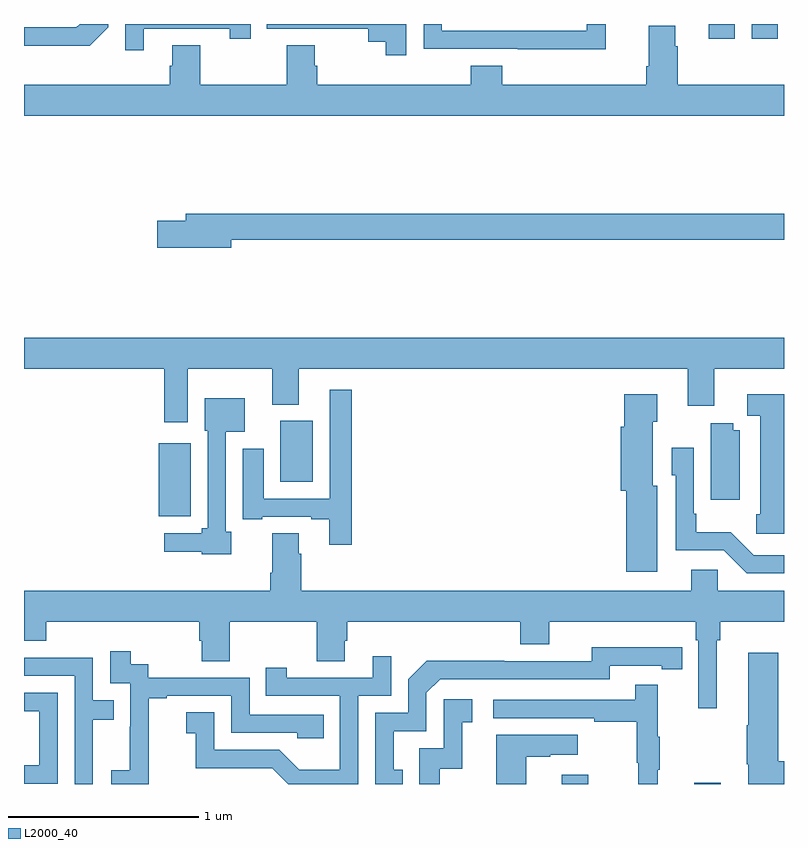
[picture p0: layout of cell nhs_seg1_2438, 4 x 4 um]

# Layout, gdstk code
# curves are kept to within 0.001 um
import gdstk
lib = gdstk.Library(unit=1e-6, precision=1e-09)
def R(c, l, rs):  # rectangles x0, y0, x1, y1
    for r in rs: c.add(gdstk.rectangle(r[:2], r[2:], *l))
def P(c, l, *ps):  # polygons
    for p in ps: c.add(gdstk.Polygon(p, *l))
L2000_40 = (2000, 40)

nhs_seg1_2438 = lib.new_cell('nhs_seg1_2438')
R(nhs_seg1_2438, L2000_40, [(245.831,564.199,245.971,564.247), (246.527,564.199,246.667,564.205), (243.71,565.607,243.877,565.993), (244.349,565.79,244.519,566.11), (246.605,568.122,246.741,568.199), (246.831,568.122,246.967,568.199)])
P(nhs_seg1_2438, L2000_40, [(243.631,568.173),(244.082,568.173),(244.082,568.122),(244.193,568.122),(244.193,568.199),(243.534,568.199),(243.534,568.062),(243.631,568.062)],
  [(246.063,568.199),(245.963,568.199),(245.963,568.164),(245.199,568.164),(245.199,568.199),(245.103,568.199),(245.103,568.068),(245.599,568.068),(245.599,568.067),(246.063,568.067)],
  [(243.444,568.182),(243.444,568.199),(243.293,568.199),(243.276,568.182),(243,568.182),(243,568.085),(243.346,568.085)],
  [(245.013,568.199),(244.278,568.199),(244.278,568.173),(244.812,568.173),(244.812,568.105),(244.905,568.105),(244.905,568.035),(245.013,568.035)],
  [(247,567.88),(246.44,567.88),(246.44,568.082),(246.427,568.082),(246.427,568.189),(246.287,568.189),(246.287,567.976),(246.275,567.976),(246.275,567.88),(245.516,567.88),(245.516,567.979),(245.351,567.979),(245.351,567.88),(244.544,567.88),(244.544,567.978),(244.531,567.978),(244.531,568.088),(244.384,568.088),(244.384,567.88),(243.927,567.88),(243.927,568.088),(243.779,568.088),(243.779,567.978),(243.767,567.978),(243.767,567.88),(243,567.88),(243,567.716),(247,567.716)],
  [(244.09,567.064),(247,567.064),(247,567.2),(243.851,567.2),(243.851,567.164),(243.702,567.164),(243.702,567.022),(244.09,567.022)],
  [(243.862,566.384),(244.307,566.384),(244.307,566.195),(244.447,566.195),(244.447,566.384),(246.494,566.384),(246.494,566.19),(246.634,566.19),(246.634,566.384),(247,566.384),(247,566.548),(243,566.548),(243,566.384),(243.737,566.384),(243.737,566.103),(243.862,566.103)],
  [(244.724,566.275),(244.608,566.275),(244.608,565.701),(244.261,565.701),(244.261,565.963),(244.151,565.963),(244.151,565.593),(244.255,565.593),(244.255,565.605),(244.511,565.605),(244.511,565.593),(244.607,565.593),(244.607,565.458),(244.724,565.458)],
  [(247,566.251),(246.807,566.251),(246.807,566.136),(246.875,566.136),(246.875,565.62),(246.853,565.62),(246.853,565.515),(247,565.515)],
  [(246.334,565.77),(246.31,565.77),(246.31,566.106),(246.334,566.106),(246.334,566.251),(246.158,566.251),(246.158,566.079),(246.14,566.079),(246.14,565.743),(246.17,565.743),(246.17,565.317),(246.334,565.317)],
  [(244.09,565.527),(244.062,565.527),(244.062,566.054),(244.162,566.054),(244.162,566.23),(243.95,566.23),(243.95,566.058),(243.966,566.058),(243.966,565.546),(243.936,565.546),(243.936,565.518),(243.738,565.518),(243.738,565.421),(243.936,565.421),(243.936,565.409),(244.09,565.409)],
  [(246.766,566.062),(246.734,566.062),(246.734,566.099),(246.614,566.099),(246.614,565.695),(246.766,565.695)],
  [(247,565.404),(246.84,565.404),(246.719,565.525),(246.538,565.525),(246.538,565.621),(246.525,565.621),(246.525,565.969),(246.408,565.969),(246.408,565.824),(246.429,565.824),(246.429,565.428),(246.684,565.428),(246.804,565.308),(247,565.308)],
  [(246.646,564.956),(246.665,564.956),(246.665,565.052),(247,565.052),(247,565.216),(246.651,565.216),(246.651,565.326),(246.512,565.326),(246.512,565.216),(244.46,565.216),(244.46,565.412),(244.447,565.412),(244.447,565.52),(244.307,565.52),(244.307,565.312),(244.295,565.312),(244.295,565.216),(243,565.216),(243,564.953),(243.116,564.953),(243.116,565.052),(243.923,565.052),(243.923,564.954),(243.935,564.954),(243.935,564.844),(244.083,564.844),(244.083,565.052),(244.54,565.052),(244.54,564.844),(244.687,564.844),(244.687,564.954),(244.7,564.954),(244.7,565.052),(245.612,565.052),(245.612,564.935),(245.764,564.935),(245.764,565.052),(246.536,565.052),(246.536,564.956),(246.549,564.956),(246.549,564.597),(246.646,564.597)],
  [(244.994,564.273),(244.945,564.273),(244.945,564.477),(245.118,564.477),(245.118,564.678),(245.19,564.75),(246.084,564.75),(246.084,564.822),(246.356,564.822),(246.356,564.802),(246.464,564.802),(246.464,564.918),(245.988,564.919),(245.988,564.846),(245.528,564.846),(245.528,564.848),(245.12,564.848),(245.022,564.75),(245.022,564.573),(244.848,564.573),(244.848,564.199),(244.994,564.199)],
  [(243.657,564.367),(243.656,564.367),(243.656,564.651),(243.751,564.651),(243.751,564.663),(244.092,564.663),(244.092,564.468),(244.437,564.468),(244.437,564.441),(244.577,564.441),(244.577,564.564),(244.188,564.564),(244.188,564.759),(243.654,564.759),(243.654,564.828),(243.562,564.828),(243.562,564.898),(243.453,564.898),(243.453,564.729),(243.558,564.729),(243.558,564.5),(243.557,564.5),(243.557,564.271),(243.459,564.271),(243.459,564.199),(243.657,564.199)],
  [(247,564.32),(246.971,564.32),(246.971,564.889),(246.812,564.889),(246.812,564.509),(246.805,564.509),(246.805,564.303),(246.812,564.303),(246.812,564.199),(247,564.199)],
  [(244.758,564.663),(244.932,564.663),(244.932,564.871),(244.835,564.871),(244.835,564.759),(244.384,564.759),(244.384,564.811),(244.273,564.811),(244.273,564.663),(244.662,564.663),(244.662,564.274),(244.448,564.274),(244.344,564.378),(244.002,564.378),(244.002,564.577),(243.855,564.577),(243.855,564.467),(243.904,564.467),(243.904,564.282),(244.307,564.282),(244.39,564.199),(244.758,564.199)],
  [(243.363,564.538),(243.473,564.538),(243.473,564.639),(243.363,564.639),(243.363,564.864),(243,564.864),(243,564.768),(243.267,564.768),(243.267,564.199),(243.363,564.199)],
  [(246.335,564.275),(246.346,564.275),(246.346,564.449),(246.335,564.449),(246.335,564.721),(246.217,564.721),(246.217,564.642),(245.469,564.642),(245.469,564.546),(246.001,564.546),(246.001,564.526),(246.225,564.526),(246.225,564.312),(246.232,564.312),(246.232,564.199),(246.335,564.199)],
  [(243.177,564.678),(243,564.678),(243,564.582),(243.081,564.582),(243.081,564.297),(243,564.297),(243,564.201),(243.177,564.201)],
  [(245.188,564.279),(245.306,564.279),(245.306,564.525),(245.359,564.525),(245.359,564.646),(245.208,564.646),(245.208,564.387),(245.079,564.387),(245.079,564.199),(245.188,564.199)],
  [(245.644,564.343),(245.771,564.343),(245.771,564.353),(245.914,564.353),(245.914,564.457),(245.486,564.457),(245.486,564.199),(245.644,564.199)])

lib.write_gds('nhs_seg1_2438.gds')
